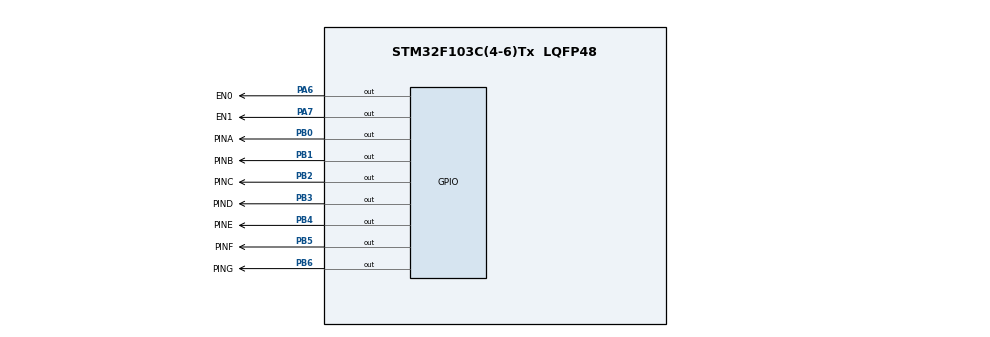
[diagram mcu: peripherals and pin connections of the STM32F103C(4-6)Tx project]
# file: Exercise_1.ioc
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Mcu.Family=STM32F1
Mcu.Name=STM32F103C(4-6)Tx
Mcu.Package=LQFP48
NVIC.PriorityGroup=NVIC_PRIORITYGROUP_4
NVIC.TIM2_IRQn=true\:0\:0\:false\:false\:true\:true\:true\:true
PA6.GPIO_Label=EN0
PA6.Signal=GPIO_Output
PA7.GPIO_Label=EN1
PA7.Signal=GPIO_Output
PB0.GPIO_Label=PINA
PB0.Signal=GPIO_Output
PB1.GPIO_Label=PINB
PB1.Signal=GPIO_Output
PB2.GPIO_Label=PINC
PB2.Signal=GPIO_Output
PB3.GPIO_Label=PIND
PB3.Signal=GPIO_Output
PB4.GPIO_Label=PINE
PB4.Signal=GPIO_Output
PB5.GPIO_Label=PINF
PB5.Signal=GPIO_Output
PB6.GPIO_Label=PING
PB6.Signal=GPIO_Output
ProjectManager.HeapSize=0x200
ProjectManager.StackSize=0x400
ProjectManager.TargetToolchain=STM32CubeIDE
RCC.APB1Freq_Value=8000000
RCC.APB2Freq_Value=8000000
TIM2.Period=9
TIM2.Prescaler=7999
VP_SYS_VS_ND.Mode=No_Debug
VP_TIM2_VS_ClockSourceINT.Mode=Internal
board=custom

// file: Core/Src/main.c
/* USER CODE BEGIN Header */
/**
  ******************************************************************************
  * @file           : main.c
  * @brief          : Main program body
  ******************************************************************************
  * @attention
  *
  * Copyright (c) 2024 STMicroelectronics.
  * All rights reserved.
  *
  * This software is licensed under terms that can be found in the LICENSE file
  * in the root directory of this software component.
  * If no LICENSE file comes with this software, it is provided AS-IS.
  *
  ******************************************************************************
  */
/* USER CODE END Header */
#include "main.h"

/* USER CODE BEGIN Includes */
#include "Control_7SEG.h"
#include "Time_Control.h"
/* USER CODE END Includes */

TIM_HandleTypeDef htim2;

void SystemClock_Config(void);
static void MX_GPIO_Init(void);
static void MX_TIM2_Init(void);

int main(void)
{

  /* MCU Configuration--------------------------------------------------------*/

  /* Reset of all peripherals, Initializes the Flash interface and the Systick. */
  HAL_Init();

  /* Configure the system clock */
  SystemClock_Config();

  /* Initialize all configured peripherals */
  MX_GPIO_Init();
  MX_TIM2_Init();
  /* USER CODE BEGIN 2 */
  HAL_TIM_Base_Start_IT(&htim2);
  /* USER CODE END 2 */

  /* Infinite loop */
  /* USER CODE BEGIN WHILE */

  setTime1(100);
  int check = 0;
//  setTime2(200);
  while (1)
  {
	  if(flag1){
		  setTime1(100);
		  if(!check){
			  HAL_GPIO_WritePin(EN0_GPIO_Port, EN0_Pin, RESET);
			  HAL_GPIO_WritePin(EN1_GPIO_Port, EN1_Pin, SET);
			  display7SEG(1);
		  }
		  else{
			  HAL_GPIO_WritePin(EN0_GPIO_Port, EN0_Pin, SET);
			  HAL_GPIO_WritePin(EN1_GPIO_Port, EN1_Pin, RESET);
			  display7SEG(2);
		  }
		  check = !check;
	  }
//	  if(flag2){
//		  setTime2(100);
//		  HAL_GPIO_WritePin(EN0_GPIO_Port, EN0_Pin, SET);
//		  HAL_GPIO_WritePin(EN1_GPIO_Port, EN1_Pin, RESET);
//		  display7SEG(2);
//
//	  }
    /* USER CODE END WHILE */

  }
}

void SystemClock_Config(void)
{
  RCC_OscInitTypeDef RCC_OscInitStruct = {0};
  RCC_ClkInitTypeDef RCC_ClkInitStruct = {0};

  /** Initializes the RCC Oscillators according to the specified parameters
  * in the RCC_OscInitTypeDef structure.
  */
  RCC_OscInitStruct.OscillatorType = RCC_OSCILLATORTYPE_HSI;
  RCC_OscInitStruct.HSIState = RCC_HSI_ON;
  RCC_OscInitStruct.HSICalibrationValue = RCC_HSICALIBRATION_DEFAULT;
  RCC_OscInitStruct.PLL.PLLState = RCC_PLL_NONE;
  if (HAL_RCC_OscConfig(&RCC_OscInitStruct) != HAL_OK)
  {
    Error_Handler();
  }

  /** Initializes the CPU, AHB and APB buses clocks
  */
  RCC_ClkInitStruct.ClockType = RCC_CLOCKTYPE_HCLK|RCC_CLOCKTYPE_SYSCLK
                              |RCC_CLOCKTYPE_PCLK1|RCC_CLOCKTYPE_PCLK2;
  RCC_ClkInitStruct.SYSCLKSource = RCC_SYSCLKSOURCE_HSI;
  RCC_ClkInitStruct.AHBCLKDivider = RCC_SYSCLK_DIV1;
  RCC_ClkInitStruct.APB1CLKDivider = RCC_HCLK_DIV1;
  RCC_ClkInitStruct.APB2CLKDivider = RCC_HCLK_DIV1;

  if (HAL_RCC_ClockConfig(&RCC_ClkInitStruct, FLASH_LATENCY_0) != HAL_OK)
  {
    Error_Handler();
  }
}

static void MX_TIM2_Init(void)
{

  TIM_ClockConfigTypeDef sClockSourceConfig = {0};
  TIM_MasterConfigTypeDef sMasterConfig = {0};

  htim2.Instance = TIM2;
  htim2.Init.Prescaler = 7999;
  htim2.Init.CounterMode = TIM_COUNTERMODE_UP;
  htim2.Init.Period = 9;
  htim2.Init.ClockDivision = TIM_CLOCKDIVISION_DIV1;
  htim2.Init.AutoReloadPreload = TIM_AUTORELOAD_PRELOAD_DISABLE;
  if (HAL_TIM_Base_Init(&htim2) != HAL_OK)
  {
    Error_Handler();
  }
  sClockSourceConfig.ClockSource = TIM_CLOCKSOURCE_INTERNAL;
  if (HAL_TIM_ConfigClockSource(&htim2, &sClockSourceConfig) != HAL_OK)
  {
    Error_Handler();
  }
  sMasterConfig.MasterOutputTrigger = TIM_TRGO_RESET;
  sMasterConfig.MasterSlaveMode = TIM_MASTERSLAVEMODE_DISABLE;
  if (HAL_TIMEx_MasterConfigSynchronization(&htim2, &sMasterConfig) != HAL_OK)
  {
    Error_Handler();
  }

}

static void MX_GPIO_Init(void)
{
  GPIO_InitTypeDef GPIO_InitStruct = {0};

  /* GPIO Ports Clock Enable */
  __HAL_RCC_GPIOA_CLK_ENABLE();
  __HAL_RCC_GPIOB_CLK_ENABLE();

  /*Configure GPIO pin Output Level */
  HAL_GPIO_WritePin(GPIOA, EN0_Pin|EN1_Pin, GPIO_PIN_RESET);

  /*Configure GPIO pin Output Level */
  HAL_GPIO_WritePin(GPIOB, PINA_Pin|PINB_Pin|PINC_Pin|PIND_Pin
                          |PINE_Pin|PINF_Pin|PING_Pin, GPIO_PIN_RESET);

  /*Configure GPIO pins : EN0_Pin EN1_Pin */
  GPIO_InitStruct.Pin = EN0_Pin|EN1_Pin;
  GPIO_InitStruct.Mode = GPIO_MODE_OUTPUT_PP;
  GPIO_InitStruct.Pull = GPIO_NOPULL;
  GPIO_InitStruct.Speed = GPIO_SPEED_FREQ_LOW;
  HAL_GPIO_Init(GPIOA, &GPIO_InitStruct);

  /*Configure GPIO pins : PINA_Pin PINB_Pin PINC_Pin PIND_Pin
                           PINE_Pin PINF_Pin PING_Pin */
  GPIO_InitStruct.Pin = PINA_Pin|PINB_Pin|PINC_Pin|PIND_Pin
                          |PINE_Pin|PINF_Pin|PING_Pin;
  GPIO_InitStruct.Mode = GPIO_MODE_OUTPUT_PP;
  GPIO_InitStruct.Pull = GPIO_NOPULL;
  GPIO_InitStruct.Speed = GPIO_SPEED_FREQ_LOW;
  HAL_GPIO_Init(GPIOB, &GPIO_InitStruct);

}

/* USER CODE BEGIN 4 */
void HAL_TIM_PeriodElapsedCallback(TIM_HandleTypeDef *htim){
	timeRun1();
	timeRun2();
}
/* USER CODE END 4 */

void Error_Handler(void)
{
  __disable_irq();
  while (1)
  {
  }
}
